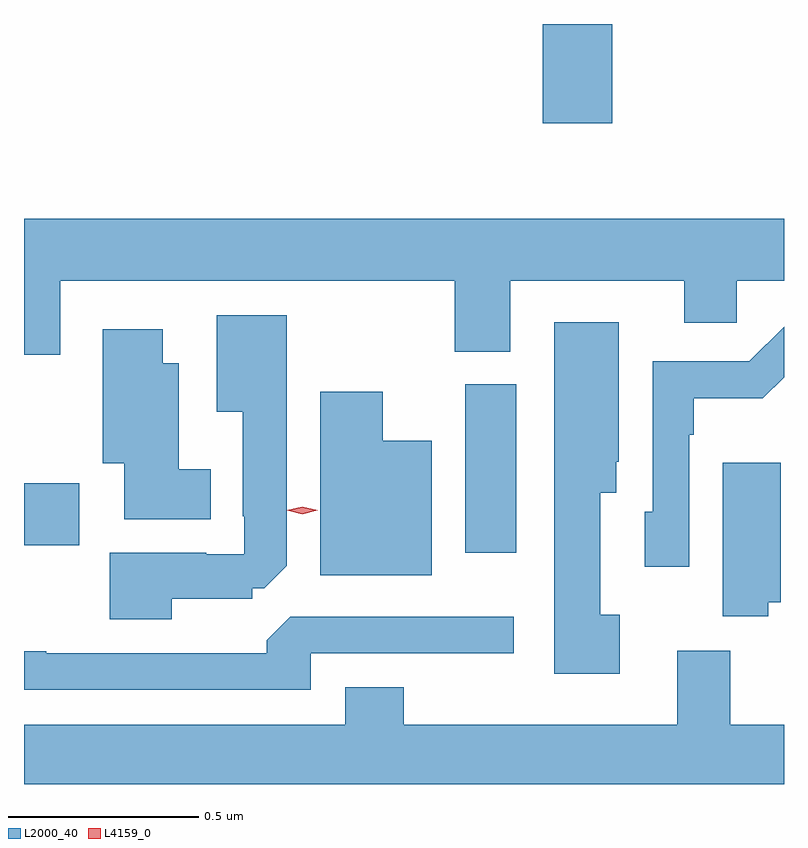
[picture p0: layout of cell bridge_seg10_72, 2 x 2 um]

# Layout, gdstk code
import gdstk
lib = gdstk.Library(unit=1e-6, precision=1e-09)
def R(c, l, rs):  # rectangles x0, y0, x1, y1
    for r in rs: c.add(gdstk.rectangle(r[:2], r[2:], *l))
def P(c, l, *ps):  # polygons
    for p in ps: c.add(gdstk.Polygon(p, *l))
L2000_40 = (2000, 40)
L4159_0 = (4159, 0)

bridge_seg10_72 = lib.new_cell('bridge_seg10_72')
R(bridge_seg10_72, L2000_40, [(730.118,1291.608,730.252,1292.052), (728.957,1291.628,729.103,1291.791), (730.322,1292.739,730.505,1293)])
P(bridge_seg10_72, L2000_40, [(729.052,1292.324),(730.09,1292.324),(730.09,1292.137),(730.237,1292.137),(730.237,1292.324),(730.694,1292.324),(730.694,1292.214),(730.833,1292.214),(730.833,1292.324),(730.957,1292.324),(730.957,1292.488),(728.957,1292.488),(728.957,1292.13),(729.052,1292.13)],
  [(729.346,1291.487),(729.558,1291.487),(729.558,1291.515),(729.589,1291.515),(729.649,1291.575),(729.649,1292.233),(729.464,1292.233),(729.464,1291.979),(729.533,1291.979),(729.533,1291.705),(729.537,1291.705),(729.537,1291.605),(729.437,1291.605),(729.437,1291.609),(729.182,1291.609),(729.182,1291.433),(729.346,1291.433)],
  [(730.525,1291.446),(730.474,1291.446),(730.474,1291.766),(730.515,1291.766),(730.515,1291.848),(730.522,1291.848),(730.522,1292.215),(730.352,1292.215),(730.352,1291.29),(730.525,1291.29)],
  [(730.707,1291.919),(730.72,1291.919),(730.72,1292.015),(730.901,1292.015),(730.957,1292.071),(730.957,1292.203),(730.866,1292.112),(730.611,1292.112),(730.611,1291.716),(730.59,1291.716),(730.59,1291.572),(730.707,1291.572)],
  [(729.448,1291.828),(729.364,1291.828),(729.364,1292.107),(729.322,1292.107),(729.322,1292.197),(729.164,1292.197),(729.164,1291.844),(729.221,1291.844),(729.221,1291.697),(729.448,1291.697)],
  [(730.03,1291.903),(729.901,1291.903),(729.901,1292.032),(729.737,1292.032),(729.737,1291.55),(730.03,1291.55)],
  [(730.916,1291.478),(730.948,1291.478),(730.948,1291.846),(730.796,1291.846),(730.796,1291.441),(730.916,1291.441)],
  [(729.711,1291.344),(730.246,1291.344),(730.246,1291.44),(729.657,1291.44),(729.596,1291.378),(729.596,1291.344),(729.016,1291.344),(729.016,1291.349),(728.957,1291.349),(728.957,1291.248),(729.711,1291.248)],
  [(729.956,1291.255),(729.803,1291.255),(729.803,1291.156),(728.957,1291.156),(728.957,1291),(730.957,1291),(730.957,1291.156),(730.816,1291.156),(730.816,1291.351),(730.676,1291.351),(730.676,1291.156),(729.956,1291.156)])
P(bridge_seg10_72, L4159_0, [(729.689,1291.71),(729.648,1291.72),(729.648,1291.72),(729.648,1291.72),(729.689,1291.73),(729.73,1291.72),(729.73,1291.72),(729.73,1291.72)])

lib.write_gds('bridge_seg10_72.gds')
